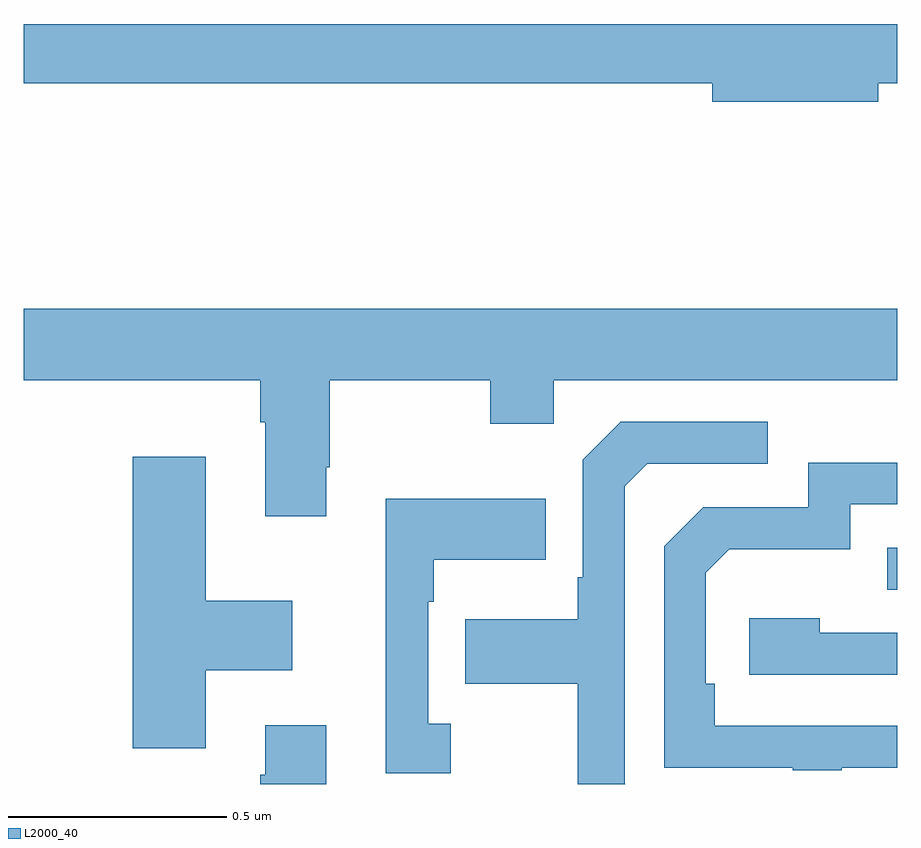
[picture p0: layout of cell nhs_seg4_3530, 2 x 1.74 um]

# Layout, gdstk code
import gdstk
lib = gdstk.Library(unit=1e-6, precision=1e-09)
def R(c, l, rs):  # rectangles x0, y0, x1, y1
    for r in rs: c.add(gdstk.rectangle(r[:2], r[2:], *l))
def P(c, l, *ps):  # polygons
    for p in ps: c.add(gdstk.Polygon(p, *l))
L2000_40 = (2000, 40)

nhs_seg4_3530 = lib.new_cell('nhs_seg4_3530')
R(nhs_seg4_3530, L2000_40, [(155.977,792.345,156,792.441)])
P(nhs_seg4_3530, L2000_40, [(155.956,793.504),(156,793.504),(156,793.64),(154,793.64),(154,793.504),(155.576,793.504),(155.576,793.462),(155.956,793.462)],
  [(154.693,792.625),(154.701,792.625),(154.701,792.824),(155.068,792.824),(155.068,792.725),(155.214,792.725),(155.214,792.824),(156,792.824),(156,792.988),(154,792.988),(154,792.824),(154.541,792.824),(154.541,792.728),(154.553,792.728),(154.553,792.513),(154.693,792.513)],
  [(155.376,791.901),(155.376,792.582),(155.427,792.633),(155.704,792.633),(155.704,792.729),(155.367,792.729),(155.28,792.642),(155.28,792.373),(155.268,792.373),(155.268,792.277),(155.011,792.277),(155.011,792.13),(155.268,792.13),(155.268,791.9),(155.377,791.9)],
  [(154.417,792.161),(154.615,792.161),(154.615,792.319),(154.417,792.319),(154.417,792.649),(154.25,792.649),(154.25,791.982),(154.417,791.982)],
  [(155.873,791.937),(156,791.937),(156,792.033),(155.582,792.033),(155.582,792.13),(155.562,792.13),(155.562,792.384),(155.615,792.437),(155.892,792.437),(155.892,792.54),(156,792.54),(156,792.636),(155.796,792.636),(155.796,792.534),(155.556,792.534),(155.466,792.444),(155.466,791.937),(155.761,791.937),(155.761,791.932),(155.873,791.932)],
  [(154.978,792.038),(154.926,792.038),(154.926,792.317),(154.939,792.317),(154.939,792.413),(155.195,792.413),(155.195,792.553),(154.829,792.553),(154.829,791.925),(154.978,791.925)],
  [(156,792.246),(155.822,792.246),(155.822,792.28),(155.661,792.28),(155.661,792.15),(156,792.15)],
  [(154.693,792.034),(154.553,792.034),(154.553,791.921),(154.541,791.921),(154.541,791.9),(154.693,791.9)])

lib.write_gds('nhs_seg4_3530.gds')
